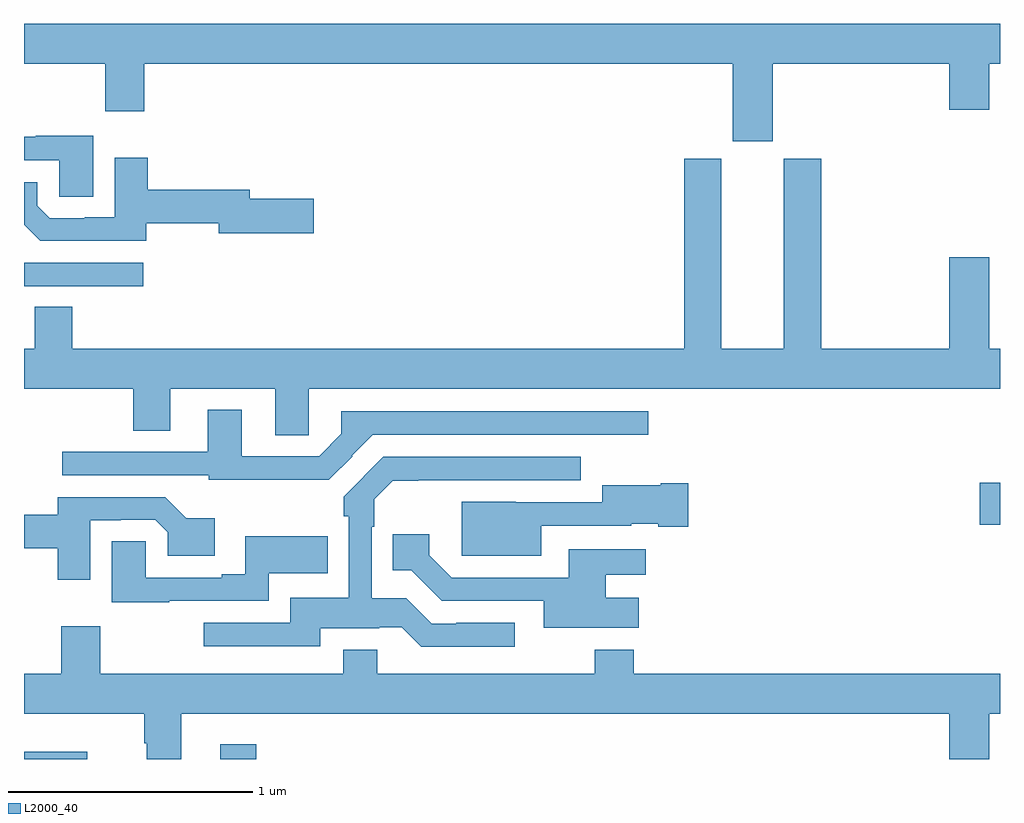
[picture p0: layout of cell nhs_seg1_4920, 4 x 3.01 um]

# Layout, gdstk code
import gdstk
lib = gdstk.Library(unit=1e-6, precision=1e-09)
def R(c, l, rs):  # rectangles x0, y0, x1, y1
    for r in rs: c.add(gdstk.rectangle(r[:2], r[2:], *l))
def P(c, l, *ps):  # polygons
    for p in ps: c.add(gdstk.Polygon(p, *l))
L2000_40 = (2000, 40)

nhs_seg1_4920 = lib.new_cell('nhs_seg1_4920')
R(nhs_seg1_4920, L2000_40, [(377,566.199,377.259,566.23), (377.804,566.199,377.951,566.26), (380.916,567.159,381,567.331), (377,568.137,377.488,568.233)])
P(nhs_seg1_4920, L2000_40, [(380.068,569.048),(380.792,569.048),(380.792,568.86),(380.956,568.86),(380.956,569.048),(381,569.048),(381,569.212),(377,569.212),(377,569.048),(377.332,569.048),(377.332,568.854),(377.492,568.854),(377.492,569.048),(379.904,569.048),(379.904,568.731),(380.068,568.731)],
  [(377.284,568.754),(377.048,568.754),(377.048,568.749),(377,568.749),(377,568.653),(377.145,568.653),(377.145,568.504),(377.284,568.504)],
  [(377.502,568.396),(377.798,568.396),(377.798,568.354),(378.187,568.354),(378.187,568.496),(377.926,568.496),(377.926,568.532),(377.507,568.532),(377.507,568.663),(377.372,568.663),(377.372,568.419),(377.248,568.419),(377.248,568.416),(377.106,568.416),(377.055,568.467),(377.055,568.564),(377,568.564),(377,568.389),(377.066,568.323),(377.502,568.323)],
  [(378.168,567.716),(381,567.716),(381,567.88),(380.956,567.88),(380.956,568.255),(380.792,568.255),(380.792,567.88),(380.267,567.88),(380.267,568.659),(380.114,568.659),(380.114,567.88),(379.858,567.88),(379.858,568.659),(379.706,568.659),(379.706,567.88),(377.198,567.88),(377.198,568.052),(377.045,568.052),(377.045,567.88),(377,567.88),(377,567.716),(377.447,567.716),(377.447,567.544),(377.599,567.544),(377.599,567.716),(378.029,567.716),(378.029,567.526),(378.168,567.526)],
  [(378.347,567.44),(378.344,567.443),(378.429,567.528),(379.558,567.528),(379.558,567.624),(378.301,567.624),(378.301,567.532),(378.21,567.441),(377.893,567.441),(377.893,567.631),(377.753,567.631),(377.753,567.459),(377.157,567.459),(377.157,567.363),(377.757,567.363),(377.757,567.343),(378.249,567.343)],
  [(379.012,566.757),(378.772,566.757),(378.772,566.754),(378.672,566.754),(378.567,566.859),(378.426,566.859),(378.426,567.152),(378.436,567.152),(378.436,567.264),(378.512,567.34),(378.616,567.34),(378.616,567.342),(379.282,567.342),(379.282,567.438),(378.473,567.438),(378.31,567.275),(378.31,567.194),(378.33,567.194),(378.33,566.86),(378.092,566.86),(378.092,566.757),(377.736,566.757),(377.736,566.661),(378.214,566.661),(378.214,566.735),(378.455,566.735),(378.455,566.739),(378.549,566.739),(378.628,566.66),(379.012,566.66)],
  [(379.12,567.156),(379.488,567.156),(379.488,567.164),(379.599,567.164),(379.599,567.152),(379.723,567.152),(379.723,567.33),(379.61,567.33),(379.61,567.322),(379.37,567.322),(379.37,567.252),(379.016,567.252),(379.016,567.253),(378.794,567.253),(378.794,567.032),(379.12,567.032)],
  [(377.272,567.177),(377.396,567.177),(377.396,567.18),(377.538,567.18),(377.589,567.129),(377.589,567.032),(377.782,567.032),(377.782,567.187),(377.664,567.187),(377.578,567.273),(377.138,567.273),(377.138,567.2),(377,567.2),(377,567.064),(377.138,567.064),(377.138,566.934),(377.272,566.934)],
  [(379.519,566.86),(379.385,566.86),(379.385,566.954),(379.549,566.954),(379.549,567.058),(379.232,567.058),(379.232,566.943),(378.753,566.943),(378.661,567.035),(378.661,567.121),(378.511,567.121),(378.511,566.972),(378.588,566.972),(378.713,566.847),(379.13,566.847),(379.13,566.738),(379.519,566.738)],
  [(377.596,566.847),(378.003,566.847),(378.003,566.96),(378.245,566.96),(378.245,567.112),(377.907,567.112),(377.907,566.956),(377.81,566.956),(377.81,566.943),(377.499,566.943),(377.499,567.092),(377.36,567.092),(377.36,566.842),(377.596,566.842)],
  [(377.644,566.384),(380.792,566.384),(380.792,566.199),(380.956,566.199),(380.956,566.384),(381,566.384),(381,566.548),(379.499,566.548),(379.499,566.647),(379.339,566.647),(379.339,566.548),(378.448,566.548),(378.448,566.647),(378.308,566.647),(378.308,566.548),(377.313,566.548),(377.313,566.743),(377.153,566.743),(377.153,566.548),(377,566.548),(377,566.384),(377.492,566.384),(377.492,566.264),(377.504,566.264),(377.504,566.199),(377.644,566.199)])

lib.write_gds('nhs_seg1_4920.gds')
